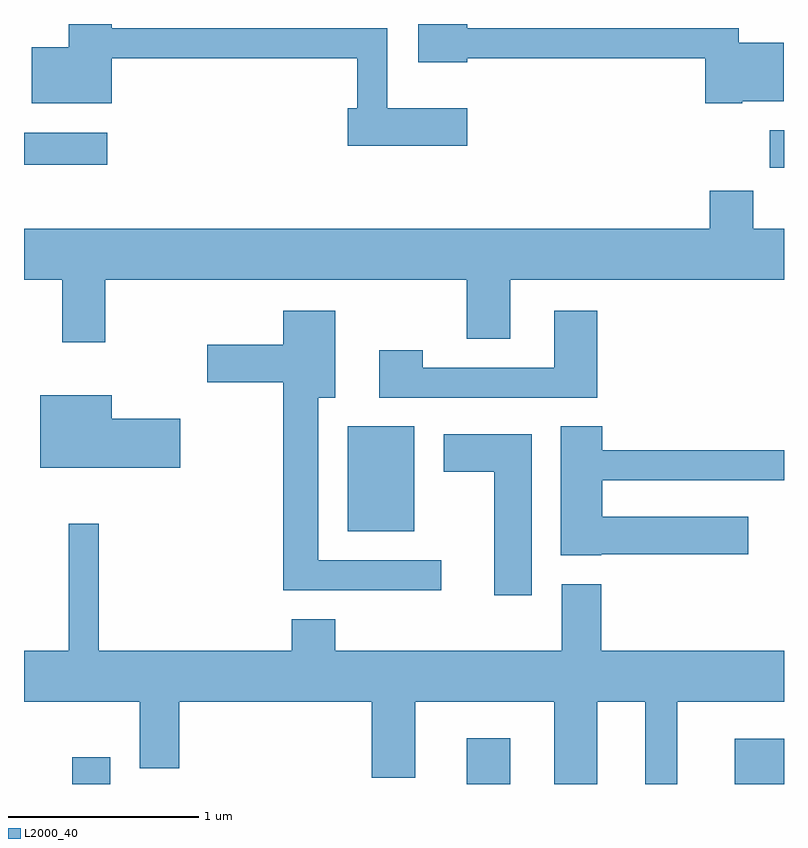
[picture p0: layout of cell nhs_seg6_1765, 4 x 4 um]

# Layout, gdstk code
import gdstk
lib = gdstk.Library(unit=1e-6, precision=1e-09)
def R(c, l, rs):  # rectangles x0, y0, x1, y1
    for r in rs: c.add(gdstk.rectangle(r[:2], r[2:], *l))
def P(c, l, *ps):  # polygons
    for p in ps: c.add(gdstk.Polygon(p, *l))
L2000_40 = (2000, 40)

nhs_seg6_1765 = lib.new_cell('nhs_seg6_1765')
R(nhs_seg6_1765, L2000_40, [(237.866,1656.162,238.064,1656.304), (239.941,1656.162,240.169,1656.404), (241.351,1656.162,241.611,1656.399), (239.316,1657.491,239.664,1658.044), (241.536,1659.406,241.611,1659.604), (237.611,1659.421,238.048,1659.589)])
P(nhs_seg6_1765, L2000_40, [(241.39,1659.756),(241.609,1659.756),(241.609,1660.064),(241.374,1660.064),(241.374,1660.139),(239.944,1660.139),(239.944,1660.162),(239.686,1660.162),(239.686,1659.961),(239.944,1659.961),(239.944,1659.981),(241.196,1659.981),(241.196,1659.746),(241.39,1659.746)],
  [(239.944,1659.719),(239.524,1659.719),(239.524,1660.139),(238.074,1660.139),(238.074,1660.162),(237.846,1660.162),(237.846,1660.039),(237.651,1660.039),(237.651,1659.746),(238.074,1659.746),(238.074,1659.981),(239.366,1659.981),(239.366,1659.719),(239.316,1659.719),(239.316,1659.521),(239.944,1659.521)],
  [(238.039,1658.816),(239.941,1658.816),(239.941,1658.506),(240.169,1658.506),(240.169,1658.816),(241.611,1658.816),(241.611,1659.084),(241.449,1659.084),(241.449,1659.284),(241.221,1659.284),(241.221,1659.084),(237.611,1659.084),(237.611,1658.816),(237.811,1658.816),(237.811,1658.486),(238.039,1658.486)],
  [(240.629,1658.654),(240.401,1658.654),(240.401,1658.354),(239.709,1658.354),(239.709,1658.444),(239.481,1658.444),(239.481,1658.196),(240.629,1658.196)],
  [(239.808,1657.339),(239.159,1657.339),(239.159,1658.196),(239.249,1658.196),(239.249,1658.654),(238.976,1658.654),(238.976,1658.474),(238.576,1658.474),(238.576,1658.276),(238.976,1658.276),(238.976,1657.181),(239.808,1657.181)],
  [(238.434,1658.084),(238.074,1658.084),(238.074,1658.209),(237.696,1658.209),(237.696,1657.826),(238.434,1657.826)],
  [(240.65,1657.371),(241.424,1657.371),(241.424,1657.569),(240.654,1657.569),(240.654,1657.761),(241.611,1657.761),(241.611,1657.919),(240.654,1657.919),(240.654,1658.044),(240.436,1658.044),(240.436,1657.366),(240.65,1657.366)],
  [(240.284,1658.004),(239.821,1658.004),(239.821,1657.806),(240.086,1657.806),(240.086,1657.156),(240.284,1657.156)],
  [(240.629,1656.596),(240.881,1656.596),(240.881,1656.162),(241.049,1656.162),(241.049,1656.596),(241.611,1656.596),(241.611,1656.864),(240.649,1656.864),(240.649,1657.214),(240.441,1657.214),(240.441,1656.864),(239.249,1656.864),(239.249,1657.029),(239.021,1657.029),(239.021,1656.864),(238.004,1656.864),(238.004,1657.533),(237.846,1657.533),(237.846,1656.864),(237.611,1656.864),(237.611,1656.596),(238.221,1656.596),(238.221,1656.246),(238.429,1656.246),(238.429,1656.596),(239.441,1656.596),(239.441,1656.196),(239.669,1656.196),(239.669,1656.596),(240.401,1656.596),(240.401,1656.162),(240.629,1656.162)])

lib.write_gds('nhs_seg6_1765.gds')
